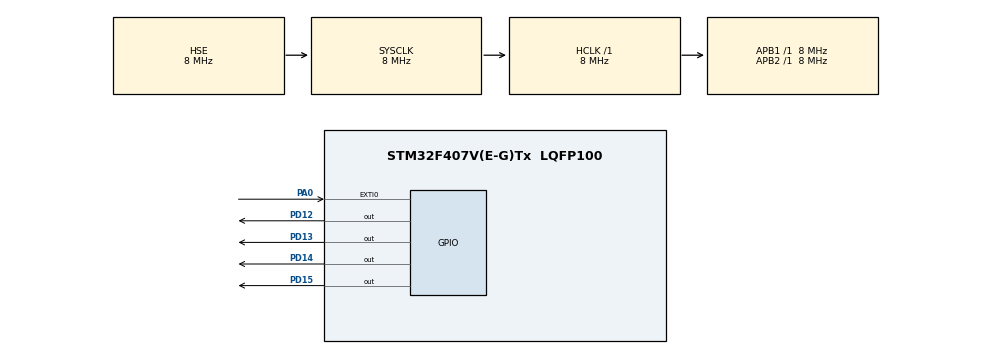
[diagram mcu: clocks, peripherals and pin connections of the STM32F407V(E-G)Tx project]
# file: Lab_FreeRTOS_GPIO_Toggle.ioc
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FREERTOS.HEAP_NUMBER=2
FREERTOS.Tasks01=defaultTask,0,128,StartDefaultTask,Default,NULL,Dynamic,NULL,NULL
FREERTOS.configTICK_RATE_HZ=100
Mcu.Family=STM32F4
Mcu.Name=STM32F407V(E-G)Tx
Mcu.Package=LQFP100
NVIC.EXTI0_IRQn=true\:5\:0\:false\:false\:true\:true\:true\:true\:true
NVIC.PriorityGroup=NVIC_PRIORITYGROUP_4
PA0-WKUP.Signal=GPXTI0
PD12.GPIO_Speed=GPIO_SPEED_FREQ_VERY_HIGH
PD12.Signal=GPIO_Output
PD13.GPIO_Speed=GPIO_SPEED_FREQ_VERY_HIGH
PD13.Signal=GPIO_Output
PD14.GPIO_Speed=GPIO_SPEED_FREQ_VERY_HIGH
PD14.Signal=GPIO_Output
PD15.GPIO_Speed=GPIO_SPEED_FREQ_VERY_HIGH
PD15.Signal=GPIO_Output
PH0-OSC_IN.Mode=HSE-External-Oscillator
PH0-OSC_IN.Signal=RCC_OSC_IN
PH1-OSC_OUT.Mode=HSE-External-Oscillator
PH1-OSC_OUT.Signal=RCC_OSC_OUT
ProjectManager.HeapSize=0x200
ProjectManager.StackSize=0x400
ProjectManager.TargetToolchain=STM32CubeIDE
RCC.48MHZClocksFreq_Value=32000000
RCC.AHBFreq_Value=8000000
RCC.APB1Freq_Value=8000000
RCC.APB1TimFreq_Value=8000000
RCC.APB2Freq_Value=8000000
RCC.APB2TimFreq_Value=8000000
RCC.CortexFreq_Value=8000000
RCC.HCLKFreq_Value=8000000
RCC.HSE_VALUE=8000000
RCC.HSI_VALUE=16000000
RCC.LSE_VALUE=32768
RCC.PLLM=4
RCC.PLLN=64
RCC.PLLSourceVirtual=RCC_PLLSOURCE_HSE
RCC.SYSCLKFreq_VALUE=8000000
RCC.SYSCLKSource=RCC_SYSCLKSOURCE_HSE
RCC.VCOOutputFreq_Value=128000000
VP_FREERTOS_VS_CMSIS_V1.Mode=CMSIS_V1
board=custom

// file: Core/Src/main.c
/* USER CODE BEGIN Header */
/**
  ******************************************************************************
  * @file           : main.c
  * @brief          : Main program body
  ******************************************************************************
  * @attention
  *
  * Copyright (c) 2023 STMicroelectronics.
  * All rights reserved.
  *
  * This software is licensed under terms that can be found in the LICENSE file
  * in the root directory of this software component.
  * If no LICENSE file comes with this software, it is provided AS-IS.
  *
  ******************************************************************************
  */
/* USER CODE END Header */
#include "main.h"
#include "cmsis_os.h"
#include "gpio.h"

/* USER CODE BEGIN Includes */
#include "FreeRTOS.h"
#include "task.h"
#include "queue.h"
#include "semphr.h"
/* USER CODE END Includes */

void SystemClock_Config(void);
void MX_FREERTOS_Init(void);

/* USER CODE BEGIN 0 */
int main(void) {
	HAL_Init();
	SystemClock_Config();
	MX_GPIO_Init();

	xTaskCreate(vTask1, (const char *)"TASK_1", configMINIMAL_STACK_SIZE, NULL, 1, NULL);

	vTaskStartScheduler();

	while(1);
}
/* USER CODE END 0 */

void SystemClock_Config(void)
{
  RCC_OscInitTypeDef RCC_OscInitStruct = {0};
  RCC_ClkInitTypeDef RCC_ClkInitStruct = {0};

  /** Configure the main internal regulator output voltage
  */
  __HAL_RCC_PWR_CLK_ENABLE();
  __HAL_PWR_VOLTAGESCALING_CONFIG(PWR_REGULATOR_VOLTAGE_SCALE1);

  /** Initializes the RCC Oscillators according to the specified parameters
  * in the RCC_OscInitTypeDef structure.
  */
  RCC_OscInitStruct.OscillatorType = RCC_OSCILLATORTYPE_HSE;
  RCC_OscInitStruct.HSEState = RCC_HSE_ON;
  RCC_OscInitStruct.PLL.PLLState = RCC_PLL_NONE;
  if (HAL_RCC_OscConfig(&RCC_OscInitStruct) != HAL_OK)
  {
    Error_Handler();
  }

  /** Initializes the CPU, AHB and APB buses clocks
  */
  RCC_ClkInitStruct.ClockType = RCC_CLOCKTYPE_HCLK|RCC_CLOCKTYPE_SYSCLK
                              |RCC_CLOCKTYPE_PCLK1|RCC_CLOCKTYPE_PCLK2;
  RCC_ClkInitStruct.SYSCLKSource = RCC_SYSCLKSOURCE_HSE;
  RCC_ClkInitStruct.AHBCLKDivider = RCC_SYSCLK_DIV1;
  RCC_ClkInitStruct.APB1CLKDivider = RCC_HCLK_DIV1;
  RCC_ClkInitStruct.APB2CLKDivider = RCC_HCLK_DIV1;

  if (HAL_RCC_ClockConfig(&RCC_ClkInitStruct, FLASH_LATENCY_0) != HAL_OK)
  {
    Error_Handler();
  }
}

/* USER CODE BEGIN 4 */
void vTask1(void *pvParameters) {
	while(1) {
		gpio_led_state(LED5_RED_ID, 1);
		gpio_led_state(LED6_BLUE_ID, 1);
		vTaskDelay(DELAY_MS / portTICK_RATE_MS);
		gpio_led_state(LED5_RED_ID, 0);
		gpio_led_state(LED6_BLUE_ID, 0);
		vTaskDelay(DELAY_MS/portTICK_RATE_MS);

	}
}
/* USER CODE END 4 */

void Error_Handler(void)
{
  __disable_irq();
  while (1)
  {
  }
}
